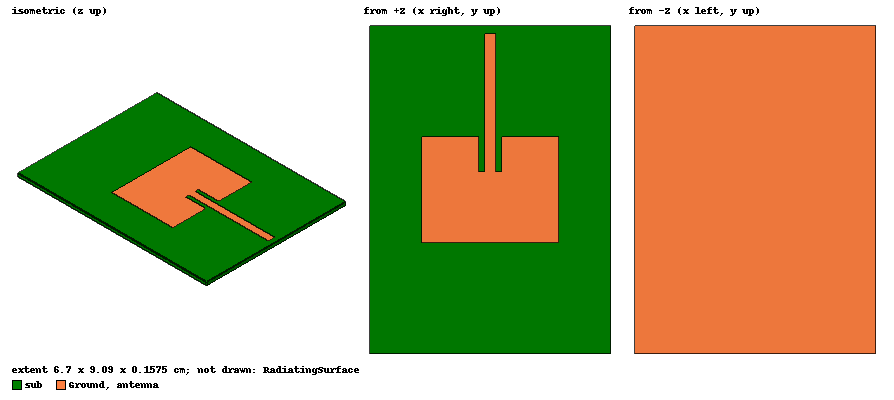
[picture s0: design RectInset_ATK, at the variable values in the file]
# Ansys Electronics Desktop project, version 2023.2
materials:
  vacuum: permittivity=1
  FR4_epoxy: permittivity=4.4 dielectric_loss_tangent=0.02

design RectInset_ATK (HFSS, HFSS Hybrid Terminal Network, model units cm)
options: Allow_Material_Override Save_Adaptive_support_files
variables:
  # --Antenna Dimensions
  patchX = 3.8cm
  patchY = 2.94cm
  # --Substrate Dimensions
  subH = 0.1575cm
  subX = 6.7cm
  subY = 9.09cm
  # --Feed Dimensions
  InsetDistance = 0.977cm
  InsetGap = 0.153cm
  FeedWidth = 0.306cm
  FeedLength = 2.854cm
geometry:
  sub [FR4_epoxy] = box(corner=(-subX/2, -subY/2, 0cm), size=(subX, subY, subH))
  Ground = rectangle(corner=(-subX/2, -subY/2, 0cm), x_size=subX, y_size=subY)
  antenna = rectangle(corner=(-patchX/2, -patchY/2, subH), x_size=patchX, y_size=patchY)
  NewObject_K6QXLF = rectangle(corner=(-FeedWidth/2-InsetGap, patchY/2-InsetDistance, subH), x_size=FeedWidth+2*InsetGap, y_size=FeedLength)
  antenna.subtract(NewObject_K6QXLF)
  NewObject_U7KTSA = rectangle(corner=(-FeedWidth/2, patchY/2-InsetDistance, subH), x_size=FeedWidth, y_size=FeedLength+InsetDistance)
  antenna.unite(NewObject_U7KTSA)
  port1 = rectangle(corner=(-FeedWidth/2, patchY/2+FeedLength, 0cm), z_size=subH, x_size=FeedWidth)
  RadiatingSurface [vacuum] = region(absolute_offset=4.1666667cm on all sides)
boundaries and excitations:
  antennaMetal: Perfect E Objects=antenna
  groundMetal: Perfect E Objects=Ground
  Open1: Radiation Objects=RadiatingSurface
  port1_T1: Terminal port=1 Edges=port1.edge(at (0, 4.324, 0)) TerminalResistance=50ohm
  1: Lumped Port Faces=port1.face LumpedPortType=Terminal Impedance=50ohm
  reference conductors: antenna
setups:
  ATK_Solution: HfssDriven Frequency=2.4GHz MaxDeltaS=0.02 MaximumPasses=15 MinimumPasses=1 MinimumConvergedPasses=1 PercentRefinement=30 BasisOrder=1 PortAccuracy=2 DrivenSolverType="Direct Solver" IESolverType=ACA
    sweep FF_Sweep: 1.2GHz to 3.6GHz, 3 points; Type=Discrete SaveFields
    sweep SParam_Sweep: 1.2GHz to 3.6GHz, 100 points; Type=Interpolating InterpTolerance=0.5 InterpMaxSolns=250 PassivityErrorTolerance=0.0001
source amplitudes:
  1:1: 1V 0deg
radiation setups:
  3D: Infinite Sphere Theta=0deg..180deg step 2deg Phi=-180deg..180deg step 2deg
  Elevation: Infinite Sphere Theta=-180deg..180deg step 1deg Phi=0deg..90deg step 90deg
  Azimuth: Infinite Sphere Theta=90deg..90deg step 0deg Phi=-180deg..180deg step 1deg
  ATK_2D: Infinite Sphere Theta=-180deg..180deg step 1deg Phi=0deg..90deg step 90deg
  ATK_3D: Infinite Sphere Theta=-180deg..180deg step 2deg Phi=0deg..180deg step 5deg
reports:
  ff_3D_GainTotal: dB(GainTotal) vs Phi, Theta on ATK_Solution : LastAdaptive, ATK_3D [Freq=2.4e+09]
  ff_2D_GainTotal: dB(GainTotal) vs Theta on ATK_Solution : LastAdaptive, ATK_2D [Phi=all Freq=2.4e+09]
  ff_2D_GainTotal_Stacked: dB(GainTotal) vs Theta on ATK_Solution : FF_Sweep, ATK_2D [Phi=all Freq=all]
  Return Loss: dB(St11) vs Freq on ATK_Solution : SParam_Sweep
  Input Impedance: St11 on ATK_Solution : SParam_Sweep [Freq=all]
